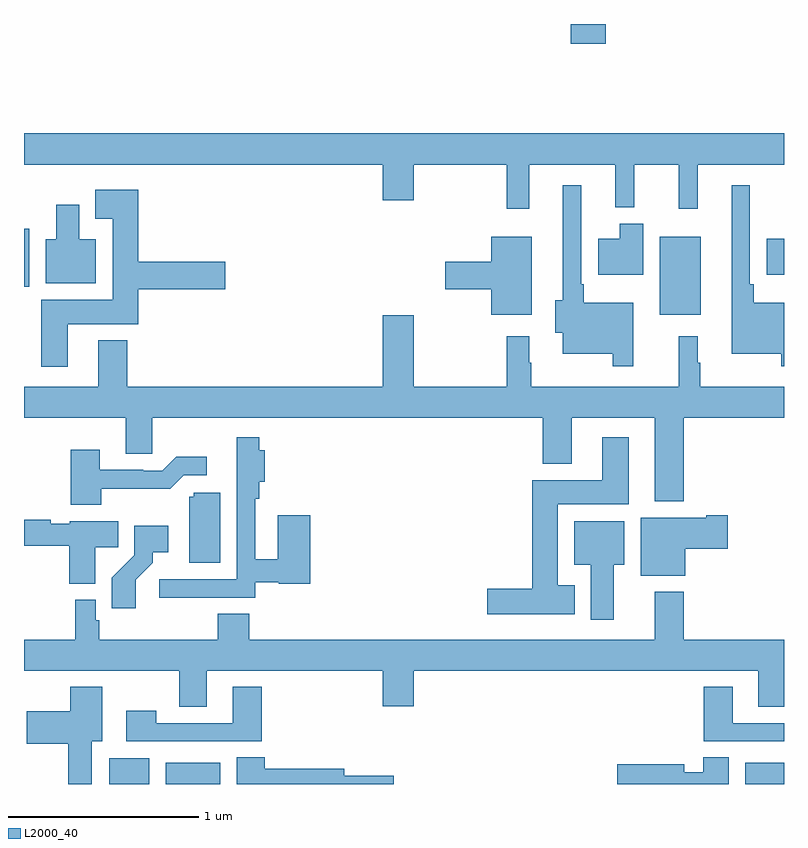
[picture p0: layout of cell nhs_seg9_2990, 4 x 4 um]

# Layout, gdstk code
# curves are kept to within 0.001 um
import gdstk
lib = gdstk.Library(unit=1e-6, precision=1e-09)
def R(c, l, rs):  # rectangles x0, y0, x1, y1
    for r in rs: c.add(gdstk.rectangle(r[:2], r[2:], *l))
def P(c, l, *ps):  # polygons
    for p in ps: c.add(gdstk.Polygon(p, *l))
L2000_40 = (2000, 40)

nhs_seg9_2990 = lib.new_cell('nhs_seg9_2990')
R(nhs_seg9_2990, L2000_40, [(283.448,1186.5,283.66,1186.636), (283.745,1186.5,284.032,1186.612), (286.796,1186.5,287,1186.612), (286.346,1188.971,286.561,1189.381), (283,1189.118,283.027,1189.423), (286.91,1189.181,287,1189.369), (285.878,1190.397,286.061,1190.5)])
P(nhs_seg9_2990, L2000_40, [(285.659,1189.76),(286.112,1189.76),(286.112,1189.535),(286.212,1189.535),(286.212,1189.76),(286.447,1189.76),(286.447,1189.527),(286.547,1189.527),(286.547,1189.76),(287,1189.76),(287,1189.924),(283,1189.924),(283,1189.76),(284.888,1189.76),(284.888,1189.572),(285.052,1189.572),(285.052,1189.76),(285.541,1189.76),(285.541,1189.527),(285.659,1189.527)],
  [(287,1189.033),(286.841,1189.033),(286.841,1189.129),(286.821,1189.129),(286.821,1189.651),(286.724,1189.651),(286.724,1188.764),(286.986,1188.764),(286.986,1188.699),(287,1188.699)],
  [(286.206,1189.033),(285.946,1189.033),(285.946,1189.129),(285.933,1189.129),(285.933,1189.651),(285.836,1189.651),(285.836,1189.046),(285.797,1189.046),(285.797,1188.875),(285.836,1188.875),(285.836,1188.764),(286.098,1188.764),(286.098,1188.699),(286.206,1188.699)],
  [(283.231,1188.92),(283.601,1188.92),(283.601,1189.103),(284.059,1189.103),(284.059,1189.25),(283.601,1189.25),(283.601,1189.627),(283.376,1189.627),(283.376,1189.475),(283.466,1189.475),(283.466,1189.048),(283.091,1189.048),(283.091,1188.696),(283.231,1188.696)],
  [(283.378,1189.366),(283.291,1189.366),(283.291,1189.549),(283.169,1189.549),(283.169,1189.366),(283.115,1189.366),(283.115,1189.136),(283.378,1189.136)],
  [(286.258,1189.45),(286.136,1189.45),(286.136,1189.369),(286.022,1189.369),(286.022,1189.181),(286.258,1189.181)],
  [(285.673,1189.381),(285.458,1189.381),(285.458,1189.25),(285.216,1189.25),(285.216,1189.103),(285.458,1189.103),(285.458,1188.971),(285.673,1188.971)],
  [(283.391,1188.592),(283,1188.592),(283,1188.428),(283.535,1188.428),(283.535,1188.238),(283.674,1188.238),(283.674,1188.428),(285.731,1188.428),(285.731,1188.185),(285.883,1188.185),(285.883,1188.428),(286.319,1188.428),(286.319,1187.987),(286.472,1187.987),(286.472,1188.428),(287,1188.428),(287,1188.592),(286.558,1188.592),(286.558,1188.716),(286.546,1188.716),(286.546,1188.856),(286.447,1188.856),(286.447,1188.592),(285.67,1188.592),(285.67,1188.716),(285.658,1188.716),(285.658,1188.856),(285.541,1188.856),(285.541,1188.592),(285.052,1188.592),(285.052,1188.967),(284.888,1188.967),(284.888,1188.592),(283.544,1188.592),(283.544,1188.835),(283.391,1188.835)],
  [(283.937,1187.481),(284.217,1187.481),(284.217,1187.562),(284.34,1187.562),(284.34,1187.554),(284.507,1187.554),(284.507,1187.914),(284.336,1187.914),(284.336,1187.683),(284.217,1187.683),(284.217,1188.002),(284.237,1188.002),(284.237,1188.091),(284.267,1188.091),(284.267,1188.256),(284.237,1188.256),(284.237,1188.325),(284.12,1188.325),(284.12,1188.102),(284.121,1188.102),(284.121,1187.577),(283.713,1187.577),(283.713,1187.479),(283.937,1187.479)],
  [(285.898,1187.545),(285.808,1187.545),(285.808,1187.972),(286.183,1187.972),(286.183,1188.325),(286.043,1188.325),(286.043,1188.1),(285.674,1188.1),(285.674,1187.528),(285.438,1187.528),(285.438,1187.393),(285.898,1187.393)],
  [(283.407,1188.054),(283.769,1188.053),(283.842,1188.126),(283.963,1188.126),(283.963,1188.223),(283.801,1188.223),(283.728,1188.15),(283.628,1188.15),(283.628,1188.153),(283.399,1188.153),(283.399,1188.259),(283.247,1188.259),(283.247,1187.969),(283.407,1187.969)],
  [(284.032,1188.033),(283.893,1188.033),(283.893,1188.012),(283.871,1188.012),(283.871,1187.664),(284.032,1187.664)],
  [(286.48,1187.737),(286.705,1187.737),(286.705,1187.915),(286.592,1187.915),(286.592,1187.902),(286.247,1187.902),(286.247,1187.597),(286.48,1187.597)],
  [(283.375,1187.746),(283.496,1187.746),(283.496,1187.884),(283.242,1187.884),(283.242,1187.871),(283.142,1187.871),(283.142,1187.891),(283,1187.891),(283,1187.755),(283.238,1187.755),(283.238,1187.555),(283.375,1187.555)],
  [(286.105,1187.654),(286.159,1187.654),(286.159,1187.884),(285.896,1187.884),(285.896,1187.654),(285.983,1187.654),(285.983,1187.364),(286.105,1187.364)],
  [(283.588,1187.575),(283.678,1187.665),(283.678,1187.72),(283.759,1187.72),(283.759,1187.86),(283.581,1187.86),(283.581,1187.705),(283.462,1187.586),(283.462,1187.424),(283.588,1187.424)],
  [(283.963,1187.096),(284.888,1187.096),(284.888,1186.908),(285.052,1186.908),(285.052,1187.096),(286.865,1187.096),(286.865,1186.906),(287,1186.906),(287,1187.26),(286.472,1187.26),(286.472,1187.512),(286.319,1187.512),(286.319,1187.26),(284.186,1187.26),(284.186,1187.396),(284.021,1187.396),(284.021,1187.26),(283.397,1187.26),(283.397,1187.361),(283.377,1187.361),(283.377,1187.47),(283.269,1187.47),(283.269,1187.26),(283,1187.26),(283,1187.096),(283.816,1187.096),(283.816,1186.906),(283.963,1186.906)],
  [(287,1186.821),(286.729,1186.821),(286.729,1187.011),(286.577,1187.011),(286.577,1186.725),(287,1186.725)],
  [(283.357,1186.724),(283.411,1186.724),(283.411,1187.011),(283.244,1187.011),(283.244,1186.882),(283.014,1186.882),(283.014,1186.712),(283.232,1186.712),(283.232,1186.5),(283.357,1186.5)],
  [(284.252,1187.011),(284.099,1187.011),(284.099,1186.821),(283.695,1186.821),(283.695,1186.885),(283.539,1186.885),(283.539,1186.725),(284.252,1186.725)],
  [(286.708,1186.64),(286.574,1186.64),(286.574,1186.561),(286.474,1186.561),(286.474,1186.604),(286.122,1186.604),(286.122,1186.5),(286.708,1186.5)],
  [(284.947,1186.544),(284.686,1186.544),(284.686,1186.58),(284.267,1186.58),(284.267,1186.64),(284.12,1186.64),(284.12,1186.5),(284.947,1186.5)])

lib.write_gds('nhs_seg9_2990.gds')
